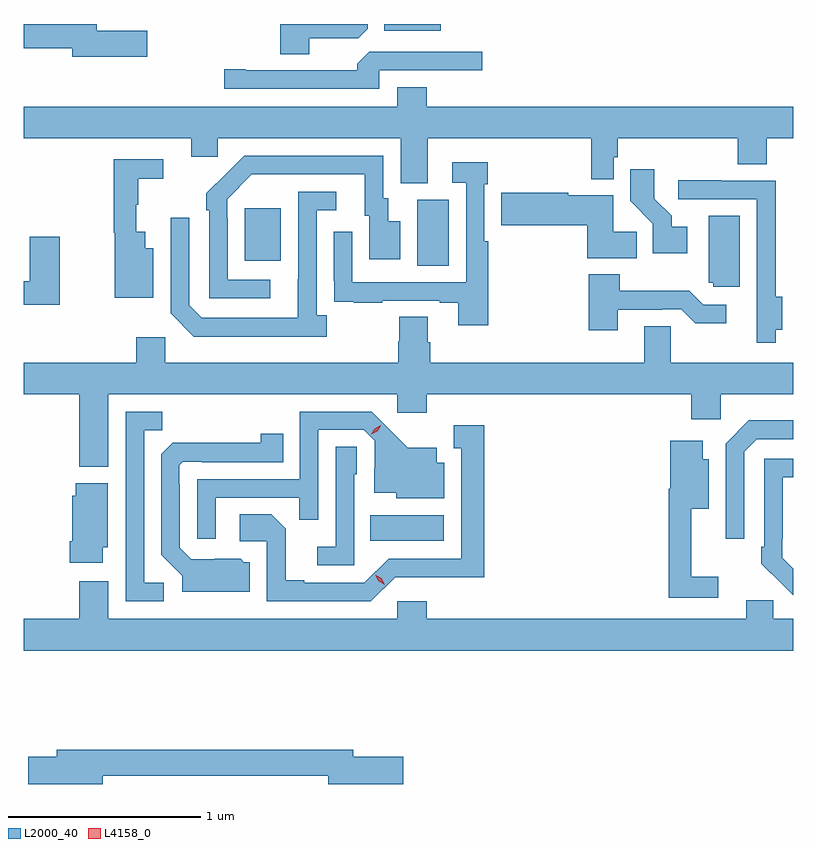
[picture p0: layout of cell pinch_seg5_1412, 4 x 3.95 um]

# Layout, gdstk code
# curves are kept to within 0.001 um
import gdstk
lib = gdstk.Library(unit=1e-6, precision=1e-09)
def R(c, l, rs):  # rectangles x0, y0, x1, y1
    for r in rs: c.add(gdstk.rectangle(r[:2], r[2:], *l))
def P(c, l, *ps):  # polygons
    for p in ps: c.add(gdstk.Polygon(p, *l))
L2000_40 = (2000, 40)
L4158_0 = (4158, 0)

pinch_seg5_1412 = lib.new_cell('pinch_seg5_1412')
R(pinch_seg5_1412, L2000_40, [(156.46,894.626,156.841,894.76), (156.704,896.056,156.868,896.4), (155.807,896.081,155.995,896.356), (156.533,897.278,156.826,897.313)])
P(pinch_seg5_1412, L2000_40, [(155.299,897.278),(155.038,897.278),(155.038,897.313),(154.658,897.313),(154.658,897.186),(154.91,897.186),(154.91,897.143),(155.299,897.143)],
  [(156.142,897.24),(156.396,897.24),(156.445,897.289),(156.445,897.313),(155.99,897.313),(155.99,897.157),(156.142,897.157)],
  [(156.507,897.072),(157.042,897.072),(157.042,897.168),(156.453,897.168),(156.392,897.106),(156.392,897.072),(155.812,897.072),(155.812,897.077),(155.7,897.077),(155.7,896.976),(156.507,896.976)],
  [(156.757,896.72),(157.609,896.72),(157.609,896.507),(157.725,896.507),(157.725,896.619),(157.745,896.619),(157.745,896.72),(158.369,896.72),(158.369,896.584),(158.521,896.584),(158.521,896.72),(158.658,896.72),(158.658,896.884),(156.752,896.884),(156.752,896.983),(156.599,896.983),(156.599,896.884),(154.658,896.884),(154.658,896.72),(155.528,896.72),(155.528,896.622),(155.667,896.622),(155.667,896.72),(156.617,896.72),(156.617,896.485),(156.757,896.485)],
  [(155.938,895.983),(155.718,895.983),(155.718,896.303),(155.715,896.303),(155.715,896.403),(155.844,896.532),(156.431,896.532),(156.431,896.316),(156.455,896.316),(156.455,896.091),(156.616,896.091),(156.616,896.287),(156.553,896.287),(156.553,896.406),(156.528,896.406),(156.528,896.628),(155.804,896.628),(155.607,896.433),(155.607,896.345),(155.622,896.345),(155.622,895.887),(155.938,895.887)],
  [(155.332,896.146),(155.29,896.146),(155.29,896.233),(155.243,896.233),(155.243,896.373),(155.254,896.373),(155.254,896.509),(155.383,896.509),(155.383,896.61),(155.125,896.61),(155.125,896.229),(155.132,896.229),(155.132,895.889),(155.332,895.889)],
  [(157.073,896.183),(157.053,896.183),(157.053,896.48),(157.071,896.48),(157.071,896.593),(156.885,896.593),(156.885,896.487),(156.957,896.487),(156.957,895.971),(156.366,895.971),(156.366,896.233),(156.27,896.233),(156.27,895.978),(156.271,895.978),(156.271,895.869),(156.373,895.869),(156.373,895.863),(156.521,895.863),(156.521,895.875),(156.821,895.875),(156.821,895.863),(156.917,895.863),(156.917,895.746),(157.073,895.746)],
  [(158.107,896.26),(158.026,896.26),(158.026,896.315),(157.936,896.405),(157.936,896.557),(157.81,896.557),(157.81,896.394),(157.929,896.275),(157.929,896.12),(158.107,896.12)],
  [(158.567,895.724),(158.602,895.724),(158.602,895.895),(158.566,895.895),(158.566,896.499),(158.285,896.499),(158.285,896.502),(158.061,896.502),(158.061,896.403),(158.469,896.403),(158.469,895.878),(158.468,895.878),(158.468,895.656),(158.567,895.656)],
  [(156.232,895.798),(156.18,895.798),(156.18,896.346),(156.283,896.346),(156.283,896.442),(156.084,896.442),(156.083,895.785),(155.583,895.785),(155.517,895.851),(155.517,896.305),(155.421,896.305),(155.421,895.809),(155.542,895.688),(156.232,895.688)],
  [(157.844,896.234),(157.723,896.234),(157.723,896.422),(157.488,896.422),(157.488,896.437),(157.14,896.437),(157.14,896.267),(157.586,896.267),(157.586,896.096),(157.844,896.096)],
  [(158.38,896.317),(158.219,896.317),(158.219,895.968),(158.241,895.968),(158.241,895.947),(158.38,895.947)],
  [(154.846,896.206),(154.688,896.206),(154.688,895.976),(154.658,895.976),(154.658,895.853),(154.846,895.853)],
  [(157.747,895.827),(157.976,895.827),(157.976,895.83),(158.076,895.83),(158.149,895.757),(158.311,895.757),(158.311,895.854),(158.19,895.854),(158.117,895.927),(157.755,895.927),(157.755,896.011),(157.595,896.011),(157.595,895.722),(157.747,895.722)],
  [(155.098,895.388),(156.6,895.388),(156.6,895.293),(156.752,895.293),(156.752,895.388),(158.129,895.388),(158.129,895.257),(158.28,895.257),(158.28,895.388),(158.658,895.388),(158.658,895.552),(158.022,895.552),(158.022,895.742),(157.883,895.742),(157.883,895.552),(156.77,895.552),(156.77,895.658),(156.757,895.658),(156.757,895.79),(156.61,895.79),(156.61,895.665),(156.605,895.665),(156.605,895.552),(155.394,895.552),(155.394,895.684),(155.243,895.684),(155.243,895.552),(154.658,895.552),(154.658,895.388),(154.946,895.388),(154.946,895.01),(155.098,895.01)],
  [(155.386,894.408),(155.283,894.408),(155.283,895.201),(155.379,895.201),(155.379,895.296),(155.187,895.296),(155.187,894.312),(155.386,894.312)],
  [(155.655,894.849),(156.091,894.849),(156.091,894.736),(156.189,894.736),(156.189,895.203),(156.426,895.203),(156.483,895.146),(156.483,895.004),(156.479,895.004),(156.479,894.875),(156.594,894.875),(156.594,894.848),(156.844,894.848),(156.844,895.033),(156.805,895.033),(156.805,895.111),(156.653,895.111),(156.466,895.296),(156.093,895.296),(156.093,894.945),(155.559,894.945),(155.559,894.636),(155.655,894.636)],
  [(158.403,895.089),(158.469,895.155),(158.658,895.155),(158.658,895.252),(158.428,895.252),(158.307,895.131),(158.307,894.636),(158.403,894.636)],
  [(156.588,894.438),(157.051,894.437),(157.051,895.228),(156.893,895.228),(156.893,895.107),(156.932,895.107),(156.932,894.534),(156.555,894.534),(156.429,894.408),(156.115,894.408),(156.115,894.421),(156.021,894.421),(156.021,894.688),(155.945,894.764),(155.781,894.764),(155.781,894.624),(155.922,894.624),(155.922,894.312),(156.462,894.312)],
  [(155.833,894.516),(155.802,894.516),(155.786,894.532),(155.529,894.531),(155.469,894.591),(155.469,894.92),(155.466,894.92),(155.466,895.02),(155.484,895.038),(155.584,895.038),(155.584,895.035),(156.008,895.035),(156.008,895.183),(155.89,895.183),(155.89,895.136),(155.432,895.135),(155.373,895.076),(155.373,894.554),(155.483,894.444),(155.483,894.362),(155.833,894.362)],
  [(158.269,894.439),(158.129,894.439),(158.129,894.794),(158.218,894.794),(158.218,895.051),(158.188,895.051),(158.188,895.147),(158.018,895.147),(158.018,894.898),(158.011,894.898),(158.011,894.33),(158.269,894.33)],
  [(156.375,894.972),(156.39,894.972),(156.39,895.115),(156.279,895.115),(156.279,894.595),(156.183,894.595),(156.183,894.498),(156.375,894.498)],
  [(158.658,894.48),(158.601,894.537),(158.601,894.637),(158.604,894.637),(158.604,894.957),(158.658,894.957),(158.658,895.053),(158.508,895.053),(158.508,894.595),(158.493,894.595),(158.493,894.507),(158.658,894.344)],
  [(155.068,894.594),(155.095,894.594),(155.095,894.925),(154.928,894.925),(154.928,894.861),(154.91,894.861),(154.91,894.625),(154.898,894.625),(154.898,894.513),(155.068,894.513)],
  [(158.658,894.22),(158.553,894.22),(158.553,894.318),(158.414,894.318),(158.414,894.22),(156.752,894.22),(156.752,894.313),(156.6,894.313),(156.6,894.22),(155.098,894.22),(155.098,894.415),(154.946,894.415),(154.946,894.22),(154.658,894.22),(154.658,894.056),(158.658,894.056)],
  [(155.068,893.404),(156.242,893.404),(156.242,893.362),(156.631,893.362),(156.631,893.504),(156.37,893.504),(156.37,893.54),(154.829,893.54),(154.829,893.504),(154.68,893.504),(154.68,893.362),(155.068,893.362)])
P(pinch_seg5_1412, L4158_0, [(156.465,895.181),(156.465,895.181),(156.482,895.21),(156.513,895.226),(156.513,895.226),(156.513,895.225),(156.496,895.196),(156.465,895.181)],
  [(156.534,894.399),(156.502,894.418),(156.485,894.45),(156.485,894.451),(156.485,894.451),(156.517,894.432),(156.534,894.399),(156.534,894.399)])

lib.write_gds('pinch_seg5_1412.gds')
